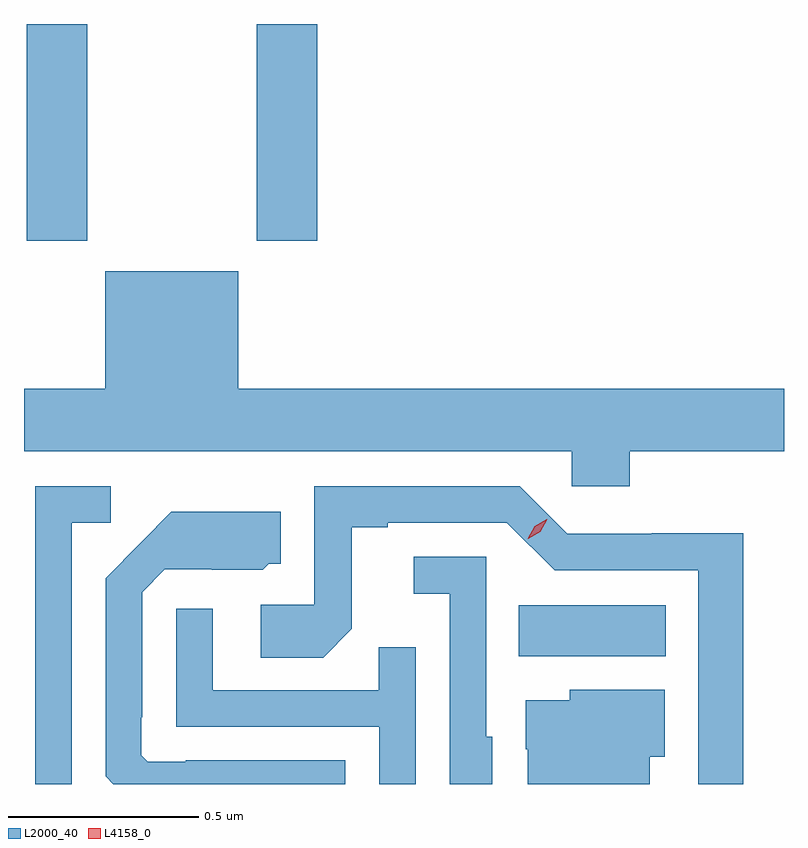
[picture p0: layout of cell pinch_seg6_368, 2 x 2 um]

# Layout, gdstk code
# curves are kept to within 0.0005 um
import gdstk
lib = gdstk.Library(unit=1e-6, precision=1e-09)
def R(c, l, rs):  # rectangles x0, y0, x1, y1
    for r in rs: c.add(gdstk.rectangle(r[:2], r[2:], *l))
def P(c, l, *ps):  # polygons
    for p in ps: c.add(gdstk.Polygon(p, *l))
L2000_40 = (2000, 40)
L4158_0 = (4158, 0)

pinch_seg6_368 = lib.new_cell('pinch_seg6_368')
R(pinch_seg6_368, L2000_40, [(676.606,952.124,676.993,952.258), (675.311,953.217,675.471,953.788), (675.916,953.217,676.076,953.788)])
P(pinch_seg6_368, L2000_40, [(676.898,952.664),(677.304,952.664),(677.304,952.828),(675.868,952.828),(675.868,953.137),(675.518,953.137),(675.518,952.828),(675.304,952.828),(675.304,952.664),(676.746,952.664),(676.746,952.571),(676.898,952.571)],
  [(675.429,952.476),(675.532,952.476),(675.532,952.572),(675.333,952.572),(675.333,951.788),(675.429,951.788)],
  [(677.197,952.448),(676.956,952.448),(676.956,952.446),(676.734,952.446),(676.608,952.572),(676.068,952.572),(676.068,952.26),(675.927,952.26),(675.927,952.12),(676.091,952.12),(676.167,952.196),(676.167,952.464),(676.261,952.464),(676.261,952.476),(676.575,952.476),(676.701,952.35),(677.078,952.35),(677.078,951.788),(677.197,951.788)],
  [(676.15,951.85),(675.73,951.85),(675.73,951.846),(675.63,951.846),(675.612,951.864),(675.612,951.964),(675.615,951.964),(675.615,952.293),(675.675,952.353),(675.798,952.353),(675.798,952.352),(675.932,952.352),(675.948,952.368),(675.979,952.368),(675.979,952.504),(675.691,952.504),(675.519,952.33),(675.519,951.808),(675.539,951.788),(676.15,951.788)],
  [(676.536,951.912),(676.521,951.912),(676.521,952.386),(676.329,952.386),(676.329,952.289),(676.425,952.289),(676.425,951.788),(676.536,951.788)],
  [(676.335,952.148),(676.237,952.148),(676.237,952.035),(675.801,952.035),(675.801,952.249),(675.705,952.249),(675.705,951.939),(676.239,951.939),(676.239,951.788),(676.335,951.788)],
  [(676.951,951.86),(676.99,951.86),(676.99,952.036),(676.74,952.036),(676.74,952.009),(676.625,952.009),(676.625,951.88),(676.629,951.88),(676.629,951.788),(676.951,951.788)])
P(pinch_seg6_368, L4158_0, [(676.63,952.434),(676.63,952.434),(676.648,952.466),(676.68,952.485),(676.681,952.485),(676.681,952.485),(676.663,952.452),(676.631,952.434)])

lib.write_gds('pinch_seg6_368.gds')
